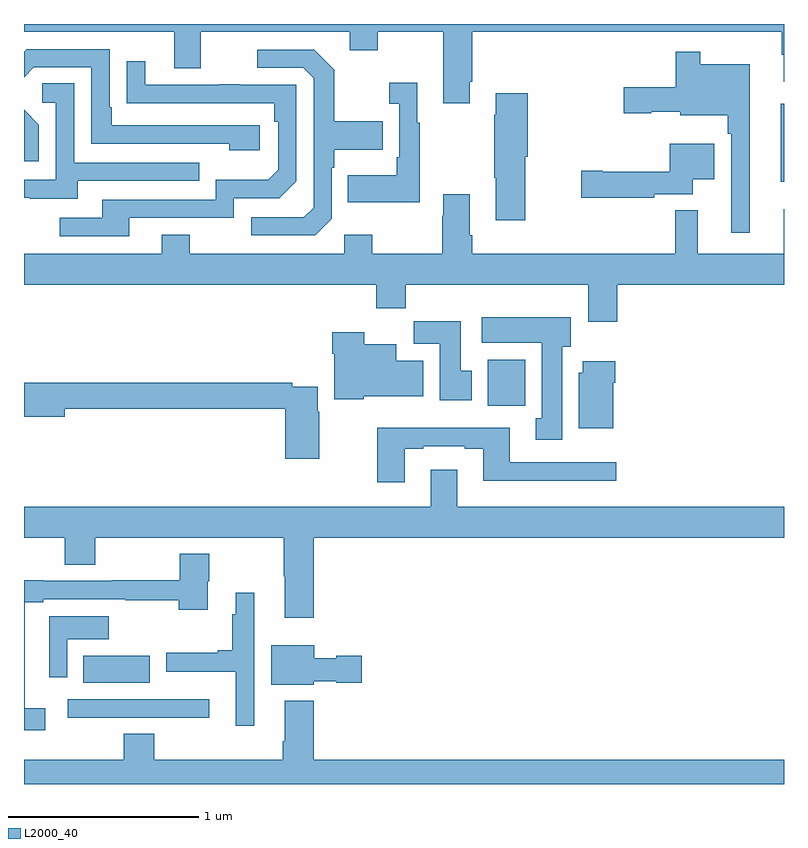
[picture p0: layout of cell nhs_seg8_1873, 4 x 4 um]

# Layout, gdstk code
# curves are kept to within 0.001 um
import gdstk
lib = gdstk.Library(unit=1e-6, precision=1e-09)
def R(c, l, rs):  # rectangles x0, y0, x1, y1
    for r in rs: c.add(gdstk.rectangle(r[:2], r[2:], *l))
def P(c, l, *ps):  # polygons
    for p in ps: c.add(gdstk.Polygon(p, *l))
L2000_40 = (2000, 40)

nhs_seg8_1873 = lib.new_cell('nhs_seg8_1873')
R(nhs_seg8_1873, L2000_40, [(231.313,1086.434,231.663,1086.574), (233.441,1087.892,233.638,1088.134), (234.983,1089.071,235,1089.481)])
P(nhs_seg8_1873, L2000_40, [(233.347,1089.595),(233.36,1089.595),(233.36,1089.86),(234.987,1089.86),(234.987,1089.737),(234.998,1089.737),(234.998,1089.597),(235,1089.597),(235,1089.9),(231,1089.9),(231,1089.86),(231.791,1089.86),(231.791,1089.666),(231.931,1089.666),(231.931,1089.86),(232.715,1089.86),(232.715,1089.761),(232.863,1089.761),(232.863,1089.86),(233.207,1089.86),(233.207,1089.483),(233.347,1089.483)],
  [(232.24,1089.366),(231.463,1089.366),(231.463,1089.463),(231.45,1089.463),(231.45,1089.768),(231.015,1089.768),(231,1089.753),(231,1089.621),(231.051,1089.672),(231.354,1089.672),(231.354,1089.27),(232.079,1089.27),(232.079,1089.236),(232.24,1089.236)],
  [(232.62,1088.874),(232.62,1089.143),(232.633,1089.143),(232.633,1089.239),(232.889,1089.239),(232.889,1089.387),(232.633,1089.387),(232.633,1089.659),(232.527,1089.765),(232.227,1089.765),(232.227,1089.669),(232.47,1089.669),(232.524,1089.615),(232.524,1088.934),(232.473,1088.883),(232.197,1088.883),(232.197,1088.787),(232.533,1088.787)],
  [(234.82,1089.688),(234.559,1089.688),(234.559,1089.754),(234.43,1089.754),(234.43,1089.567),(234.156,1089.567),(234.156,1089.43),(234.302,1089.43),(234.302,1089.437),(234.453,1089.437),(234.453,1089.419),(234.703,1089.419),(234.703,1089.323),(234.723,1089.323),(234.723,1088.802),(234.82,1088.802)],
  [(231.553,1088.88),(232.104,1088.88),(232.104,1088.982),(232.344,1088.982),(232.434,1089.072),(232.434,1089.579),(232.139,1089.579),(232.139,1089.584),(232.027,1089.584),(232.027,1089.579),(231.637,1089.579),(231.637,1089.703),(231.541,1089.703),(231.541,1089.484),(232.318,1089.483),(232.318,1089.386),(232.338,1089.386),(232.338,1089.132),(232.285,1089.079),(232.008,1089.079),(232.008,1088.976),(231.413,1088.976),(231.413,1088.88),(231.189,1088.88),(231.189,1088.784),(231.553,1088.784)],
  [(233.083,1089.379),(233.071,1089.379),(233.071,1089.592),(232.923,1089.592),(232.923,1089.479),(232.974,1089.479),(232.974,1089.199),(232.962,1089.199),(232.962,1089.103),(232.705,1089.103),(232.705,1088.963),(233.083,1088.963)],
  [(231.283,1089.075),(231.923,1089.075),(231.923,1089.171),(231.264,1089.171),(231.264,1089.587),(231.096,1089.587),(231.096,1089.486),(231.168,1089.486),(231.168,1089.081),(231,1089.081),(231,1088.985),(231.029,1088.985),(231.029,1088.981),(231.283,1088.981)],
  [(233.638,1089.201),(233.651,1089.201),(233.651,1089.535),(233.483,1089.535),(233.483,1089.422),(233.476,1089.422),(233.476,1089.091),(233.483,1089.091),(233.483,1088.868),(233.638,1088.868)],
  [(231.078,1089.37),(231,1089.448),(231,1089.177),(231.078,1089.177)],
  [(234.318,1089.005),(234.52,1089.005),(234.52,1089.083),(234.634,1089.083),(234.634,1089.271),(234.398,1089.271),(234.398,1089.123),(234.046,1089.123),(234.046,1089.128),(233.934,1089.128),(233.934,1088.986),(234.318,1088.986)],
  [(234.122,1088.528),(235,1088.528),(235,1088.926),(234.998,1088.926),(234.998,1088.692),(234.545,1088.692),(234.545,1088.92),(234.427,1088.92),(234.427,1088.692),(233.36,1088.692),(233.36,1088.788),(233.347,1088.788),(233.347,1089.004),(233.207,1089.004),(233.207,1088.891),(233.2,1088.891),(233.2,1088.692),(232.833,1088.692),(232.833,1088.791),(232.686,1088.791),(232.686,1088.692),(231.873,1088.692),(231.873,1088.791),(231.725,1088.791),(231.725,1088.692),(231,1088.692),(231,1088.528),(232.853,1088.528),(232.853,1088.404),(233.009,1088.404),(233.009,1088.528),(233.969,1088.528),(233.969,1088.334),(234.122,1088.334)],
  [(233.833,1088.202),(233.878,1088.202),(233.878,1088.356),(233.409,1088.356),(233.409,1088.222),(233.726,1088.222),(233.726,1087.826),(233.693,1087.826),(233.693,1087.713),(233.833,1087.713)],
  [(233.356,1088.076),(233.299,1088.076),(233.299,1088.335),(233.05,1088.335),(233.05,1088.216),(233.189,1088.216),(233.189,1087.92),(233.356,1087.92)],
  [(232.788,1087.94),(233.101,1087.94),(233.101,1088.128),(232.96,1088.128),(232.96,1088.215),(232.792,1088.215),(232.792,1088.278),(232.622,1088.278),(232.622,1088.165),(232.634,1088.165),(232.634,1087.925),(232.788,1087.925)],
  [(234.1,1088.012),(234.113,1088.012),(234.113,1088.125),(233.942,1088.125),(233.942,1088.064),(233.921,1088.064),(233.921,1087.772),(234.1,1087.772)],
  [(232.554,1087.859),(232.546,1087.859),(232.546,1087.992),(232.412,1087.992),(232.412,1088.012),(231,1088.012),(231,1087.834),(231.214,1087.834),(231.214,1087.876),(232.376,1087.876),(232.376,1087.611),(232.554,1087.611)],
  [(233.005,1087.665),(233.101,1087.665),(233.101,1087.677),(233.321,1087.677),(233.321,1087.665),(233.417,1087.665),(233.417,1087.496),(234.118,1087.496),(234.118,1087.593),(233.557,1087.593),(233.557,1087.774),(232.858,1087.774),(232.858,1087.488),(233.005,1087.488)],
  [(232.526,1087.196),(235,1087.196),(235,1087.36),(233.281,1087.36),(233.281,1087.555),(233.141,1087.555),(233.141,1087.36),(231,1087.36),(231,1087.196),(231.215,1087.196),(231.215,1087.054),(231.375,1087.054),(231.375,1087.196),(232.366,1087.196),(232.366,1086.994),(232.373,1086.994),(232.373,1086.774),(232.526,1086.774)],
  [(231.112,1086.299),(231.004,1086.299),(231.004,1086.857),(231.1,1086.857),(231.1,1086.873),(231.532,1086.873),(231.532,1086.868),(231.815,1086.868),(231.815,1086.816),(231.967,1086.816),(231.967,1086.966),(231.975,1086.966),(231.975,1087.111),(231.82,1087.111),(231.82,1086.972),(231.463,1086.972),(231.463,1086.969),(231.1,1086.969),(231.1,1086.972),(231,1086.972),(231,1086.182),(231.112,1086.182)],
  [(232.212,1086.685),(232.213,1086.685),(232.213,1086.907),(232.115,1086.907),(232.115,1086.794),(232.096,1086.794),(232.096,1086.604),(232.019,1086.604),(232.019,1086.591),(231.748,1086.591),(231.748,1086.491),(232.115,1086.491),(232.115,1086.207),(232.212,1086.207)],
  [(231.228,1086.662),(231.445,1086.662),(231.445,1086.783),(231.133,1086.783),(231.133,1086.68),(231.132,1086.68),(231.132,1086.462),(231.228,1086.462)],
  [(232.524,1086.44),(232.644,1086.44),(232.644,1086.433),(232.777,1086.433),(232.777,1086.575),(232.644,1086.575),(232.644,1086.562),(232.528,1086.562),(232.528,1086.631),(232.301,1086.631),(232.301,1086.422),(232.524,1086.422)],
  [(231.976,1086.346),(231.756,1086.346),(231.756,1086.345),(231.231,1086.345),(231.231,1086.249),(231.976,1086.249)],
  [(235,1086.028),(232.526,1086.028),(232.526,1086.337),(232.373,1086.337),(232.373,1086.124),(232.361,1086.124),(232.361,1086.028),(231.686,1086.028),(231.686,1086.164),(231.526,1086.164),(231.526,1086.028),(231,1086.028),(231,1085.9),(235,1085.9)])

lib.write_gds('nhs_seg8_1873.gds')
